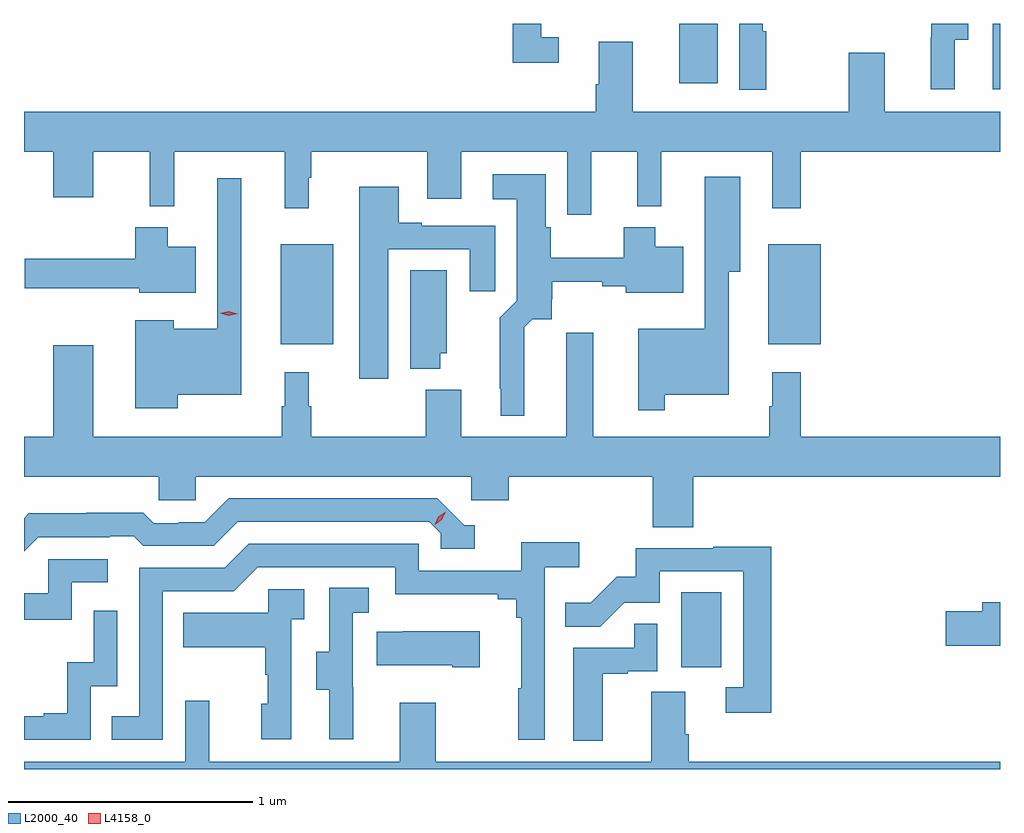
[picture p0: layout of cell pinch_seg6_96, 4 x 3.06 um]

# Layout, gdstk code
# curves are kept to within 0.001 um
import gdstk
lib = gdstk.Library(unit=1e-6, precision=1e-09)
def R(c, l, rs):  # rectangles x0, y0, x1, y1
    for r in rs: c.add(gdstk.rectangle(r[:2], r[2:], *l))
def P(c, l, *ps):  # polygons
    for p in ps: c.add(gdstk.Polygon(p, *l))
L2000_40 = (2000, 40)
L4158_0 = (4158, 0)

pinch_seg6_96 = lib.new_cell('pinch_seg6_96')
R(pinch_seg6_96, L2000_40, [(934.814,915.918,934.978,916.225), (933.173,917.243,933.388,917.653), (935.171,917.243,935.386,917.653), (936.09,918.288,936.12,918.556)])
P(pinch_seg6_96, L2000_40, [(934.312,918.501),(934.239,918.501),(934.239,918.556),(934.123,918.556),(934.123,918.396),(934.312,918.396)],
  [(934.963,918.556),(934.701,918.556),(934.701,918.555),(934.805,918.555),(934.805,918.312),(934.963,918.312)],
  [(935.935,918.49),(935.989,918.49),(935.989,918.556),(935.838,918.556),(935.838,918.501),(935.837,918.501),(935.837,918.288),(935.935,918.288)],
  [(935.161,918.524),(935.148,918.524),(935.148,918.556),(935.052,918.556),(935.052,918.285),(935.161,918.285)],
  [(932.12,918.032),(932.24,918.032),(932.24,917.844),(932.404,917.844),(932.404,918.032),(932.635,918.032),(932.635,917.807),(932.735,917.807),(932.735,918.032),(933.188,918.032),(933.188,917.799),(933.287,917.799),(933.287,917.924),(933.298,917.924),(933.298,918.032),(933.773,918.032),(933.773,917.838),(933.913,917.838),(933.913,918.032),(934.347,918.032),(934.347,917.772),(934.445,917.772),(934.445,918.032),(934.634,918.032),(934.634,917.807),(934.732,917.807),(934.732,918.032),(935.186,918.032),(935.186,917.799),(935.303,917.799),(935.303,918.032),(936.12,918.032),(936.12,918.196),(935.647,918.196),(935.647,918.436),(935.5,918.436),(935.5,918.196),(934.615,918.196),(934.615,918.482),(934.475,918.482),(934.475,918.308),(934.463,918.308),(934.463,918.196),(932.12,918.196)],
  [(934.171,917.312),(934.203,917.345),(934.283,917.345),(934.284,917.498),(934.49,917.498),(934.49,917.479),(934.586,917.479),(934.586,917.453),(934.822,917.453),(934.822,917.641),(934.708,917.641),(934.708,917.722),(934.579,917.722),(934.579,917.596),(934.278,917.596),(934.278,917.721),(934.258,917.721),(934.258,917.938),(934.041,917.938),(934.041,917.837),(934.139,917.837),(934.139,917.42),(934.069,917.35),(934.069,917.059),(934.073,917.059),(934.073,916.949),(934.171,916.949)],
  [(934.747,917.036),(935.008,917.036),(935.008,917.54),(935.056,917.54),(935.056,917.929),(934.91,917.929),(934.91,917.305),(934.638,917.305),(934.638,916.971),(934.747,916.971)],
  [(932.751,917.036),(933.01,917.036),(933.01,917.923),(932.913,917.923),(932.913,917.305),(932.734,917.305),(932.734,917.341),(932.576,917.341),(932.576,916.979),(932.751,916.979)],
  [(933.613,917.631),(933.947,917.631),(933.947,917.46),(934.051,917.46),(934.051,917.727),(933.751,917.727),(933.751,917.74),(933.655,917.74),(933.655,917.887),(933.494,917.887),(933.494,917.1),(933.613,917.1)],
  [(932.824,917.641),(932.71,917.641),(932.71,917.722),(932.576,917.722),(932.576,917.593),(932.124,917.593),(932.124,917.471),(932.592,917.471),(932.592,917.453),(932.824,917.453)],
  [(933.826,917.205),(933.853,917.205),(933.853,917.546),(933.704,917.546),(933.704,917.141),(933.826,917.141)],
  [(934.862,916.7),(936.12,916.7),(936.12,916.864),(935.303,916.864),(935.303,917.128),(935.186,917.128),(935.186,916.988),(935.175,916.988),(935.175,916.864),(934.453,916.864),(934.453,917.29),(934.343,917.29),(934.343,916.864),(933.913,916.864),(933.913,917.056),(933.766,917.056),(933.766,916.864),(933.298,916.864),(933.298,916.988),(933.287,916.988),(933.287,917.128),(933.188,917.128),(933.188,916.988),(933.177,916.988),(933.177,916.864),(932.404,916.864),(932.404,917.239),(932.24,917.239),(932.24,916.864),(932.12,916.864),(932.12,916.7),(932.673,916.7),(932.673,916.602),(932.823,916.602),(932.823,916.7),(933.954,916.7),(933.954,916.602),(934.106,916.602),(934.106,916.7),(934.697,916.7),(934.697,916.492),(934.862,916.492)],
  [(932.178,916.452),(932.471,916.452),(932.471,916.455),(932.57,916.455),(932.609,916.416),(932.898,916.416),(932.997,916.515),(933.78,916.515),(933.828,916.467),(933.828,916.404),(933.967,916.404),(933.967,916.5),(933.924,916.5),(933.813,916.611),(932.96,916.611),(932.861,916.512),(932.754,916.512),(932.754,916.509),(932.651,916.509),(932.609,916.552),(932.376,916.552),(932.376,916.549),(932.14,916.549),(932.12,916.529),(932.12,916.394)],
  [(932.688,916.23),(932.979,916.23),(933.078,916.329),(933.642,916.329),(933.642,916.217),(934.061,916.217),(934.061,916.198),(934.138,916.198),(934.138,916.121),(934.157,916.121),(934.157,915.833),(934.146,915.833),(934.146,915.621),(934.254,915.621),(934.254,916.328),(934.396,916.328),(934.396,916.43),(934.157,916.43),(934.157,916.314),(933.738,916.314),(933.738,916.425),(933.041,916.425),(932.942,916.326),(932.592,916.326),(932.592,915.717),(932.479,915.717),(932.479,915.621),(932.688,915.621)],
  [(935.183,916.412),(934.945,916.412),(934.945,916.407),(934.627,916.407),(934.627,916.29),(934.55,916.29),(934.443,916.183),(934.339,916.183),(934.339,916.084),(934.482,916.084),(934.58,916.182),(934.725,916.182),(934.725,916.311),(935.067,916.311),(935.067,915.837),(934.995,915.837),(934.995,915.732),(935.183,915.732)],
  [(932.316,916.266),(932.464,916.266),(932.464,916.362),(932.22,916.362),(932.22,916.221),(932.12,916.221),(932.12,916.113),(932.316,916.113)],
  [(933.47,915.837),(933.468,915.837),(933.468,916.141),(933.532,916.141),(933.532,916.244),(933.372,916.244),(933.372,915.981),(933.317,915.981),(933.317,915.826),(933.371,915.826),(933.371,915.624),(933.47,915.624)],
  [(933.216,916.115),(933.268,916.115),(933.268,916.239),(933.12,916.239),(933.12,916.141),(932.773,916.141),(932.773,916.001),(933.108,916.001),(933.108,915.887),(933.118,915.887),(933.118,915.768),(933.092,915.768),(933.092,915.624),(933.216,915.624)],
  [(936.12,916.184),(936.047,916.184),(936.047,916.148),(935.898,916.148),(935.898,916.006),(936.12,916.006)],
  [(932.394,915.84),(932.502,915.84),(932.502,916.15),(932.406,916.15),(932.406,915.938),(932.297,915.938),(932.297,915.73),(932.201,915.73),(932.201,915.717),(932.12,915.717),(932.12,915.621),(932.394,915.621)],
  [(934.492,915.891),(934.595,915.891),(934.595,915.903),(934.716,915.903),(934.716,916.097),(934.621,916.097),(934.621,915.999),(934.37,915.999),(934.37,915.617),(934.492,915.617)],
  [(933.988,916.066),(933.673,916.066),(933.673,916.063),(933.565,916.063),(933.565,915.926),(933.875,915.926),(933.875,915.919),(933.988,915.919)],
  [(936.12,915.532),(934.844,915.532),(934.844,915.644),(934.831,915.644),(934.831,915.818),(934.691,915.818),(934.691,915.532),(933.807,915.532),(933.807,915.772),(933.659,915.772),(933.659,915.532),(932.879,915.532),(932.879,915.781),(932.781,915.781),(932.781,915.532),(932.12,915.532),(932.12,915.5),(936.12,915.5)])
P(pinch_seg6_96, L4158_0, [(933.803,916.502),(933.803,916.503),(933.818,916.535),(933.848,916.555),(933.848,916.555),(933.848,916.555),(933.833,916.522),(933.803,916.502)],
  [(932.959,917.358),(932.924,917.37),(932.923,917.37),(932.924,917.37),(932.959,917.378),(932.994,917.367),(932.995,917.367),(932.994,917.367)])

lib.write_gds('pinch_seg6_96.gds')
